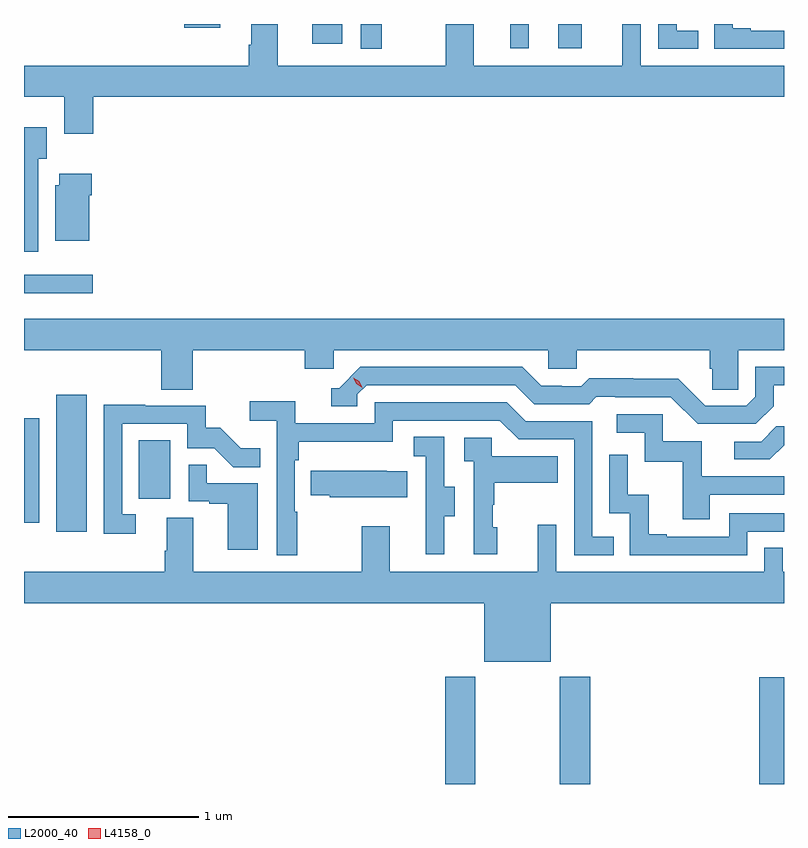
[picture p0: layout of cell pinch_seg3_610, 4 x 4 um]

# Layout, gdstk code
import gdstk
lib = gdstk.Library(unit=1e-6, precision=1e-09)
def R(c, l, rs):  # rectangles x0, y0, x1, y1
    for r in rs: c.add(gdstk.rectangle(r[:2], r[2:], *l))
def P(c, l, *ps):  # polygons
    for p in ps: c.add(gdstk.Polygon(p, *l))
L2000_40 = (2000, 40)
L4158_0 = (4158, 0)

pinch_seg3_610 = lib.new_cell('pinch_seg3_610')
R(pinch_seg3_610, L2000_40, [(1073.135,666.664,1073.295,667.228), (1073.74,666.664,1073.9,667.228), (1074.788,666.664,1074.919,667.227), (1071.089,667.992,1071.25,668.713), (1070.919,668.038,1071,668.59), (1071.524,668.166,1071.688,668.473), (1070.919,669.248,1071.28,669.345), (1072.692,670.533,1072.801,670.664), (1073.477,670.536,1073.575,670.664), (1073.73,670.536,1073.854,670.664), (1072.436,670.56,1072.594,670.664), (1071.763,670.644,1071.952,670.664)])
P(pinch_seg3_610, L2000_40, [(1071.284,670.28),(1074.919,670.28),(1074.919,670.444),(1074.165,670.444),(1074.165,670.664),(1074.068,670.664),(1074.068,670.444),(1073.287,670.444),(1073.287,670.664),(1073.14,670.664),(1073.14,670.444),(1072.255,670.444),(1072.255,670.664),(1072.115,670.664),(1072.115,670.556),(1072.103,670.556),(1072.103,670.444),(1070.919,670.444),(1070.919,670.28),(1071.131,670.28),(1071.131,670.086),(1071.284,670.086)],
  [(1074.919,670.629),(1074.745,670.629),(1074.745,670.642),(1074.65,670.642),(1074.65,670.664),(1074.552,670.664),(1074.552,670.533),(1074.919,670.533)],
  [(1074.467,670.629),(1074.354,670.629),(1074.354,670.664),(1074.258,670.664),(1074.258,670.533),(1074.467,670.533)],
  [(1070.995,669.954),(1071.04,669.954),(1071.04,670.12),(1070.919,670.12),(1070.919,669.465),(1070.995,669.465)],
  [(1071.262,669.764),(1071.275,669.764),(1071.275,669.877),(1071.104,669.877),(1071.104,669.816),(1071.083,669.816),(1071.083,669.524),(1071.262,669.524)],
  [(1070.919,668.948),(1071.641,668.948),(1071.641,668.74),(1071.806,668.74),(1071.806,668.948),(1072.397,668.948),(1072.397,668.85),(1072.548,668.85),(1072.548,668.948),(1073.679,668.948),(1073.679,668.85),(1073.829,668.85),(1073.829,668.948),(1074.527,668.948),(1074.527,668.85),(1074.541,668.85),(1074.541,668.74),(1074.678,668.74),(1074.678,668.948),(1074.919,668.948),(1074.919,669.112),(1070.919,669.112)],
  [(1074.865,668.653),(1074.865,668.763),(1074.919,668.763),(1074.919,668.859),(1074.768,668.859),(1074.768,668.703),(1074.72,668.655),(1074.504,668.655),(1074.362,668.797),(1074.126,668.797),(1074.126,668.8),(1073.893,668.8),(1073.851,668.757),(1073.748,668.757),(1073.748,668.76),(1073.641,668.76),(1073.542,668.859),(1072.689,668.859),(1072.578,668.748),(1072.535,668.748),(1072.535,668.652),(1072.674,668.652),(1072.674,668.715),(1072.722,668.763),(1073.505,668.763),(1073.604,668.664),(1073.893,668.664),(1073.932,668.703),(1074.031,668.703),(1074.031,668.7),(1074.324,668.7),(1074.465,668.559),(1074.771,668.559)],
  [(1072.357,668.096),(1072.344,668.096),(1072.344,668.369),(1072.364,668.369),(1072.364,668.465),(1072.86,668.465),(1072.86,668.577),(1073.424,668.577),(1073.523,668.478),(1073.814,668.478),(1073.814,667.869),(1074.023,667.869),(1074.023,667.965),(1073.91,667.965),(1073.91,668.574),(1073.56,668.574),(1073.461,668.673),(1072.764,668.673),(1072.764,668.562),(1072.346,668.562),(1072.346,668.678),(1072.107,668.678),(1072.107,668.576),(1072.248,668.576),(1072.248,667.869),(1072.357,667.869)],
  [(1071.508,668.085),(1071.435,668.085),(1071.435,668.559),(1071.777,668.559),(1071.777,668.43),(1071.921,668.43),(1072.019,668.332),(1072.163,668.332),(1072.163,668.431),(1072.059,668.431),(1071.952,668.538),(1071.876,668.538),(1071.876,668.655),(1071.557,668.655),(1071.557,668.66),(1071.339,668.66),(1071.339,667.98),(1071.508,667.98)],
  [(1074.529,668.187),(1074.919,668.187),(1074.919,668.283),(1074.487,668.283),(1074.487,668.469),(1074.282,668.469),(1074.282,668.61),(1074.039,668.61),(1074.039,668.514),(1074.186,668.514),(1074.186,668.361),(1074.385,668.361),(1074.385,668.058),(1074.529,668.058)],
  [(1074.919,668.448),(1074.919,668.546),(1074.878,668.546),(1074.798,668.466),(1074.657,668.466),(1074.657,668.373),(1074.844,668.373)],
  [(1073.131,668.074),(1073.185,668.074),(1073.185,668.229),(1073.13,668.229),(1073.13,668.492),(1072.971,668.492),(1072.971,668.389),(1073.034,668.389),(1073.034,668.085),(1073.033,668.085),(1073.033,667.872),(1073.131,667.872)],
  [(1073.41,668.016),(1073.385,668.016),(1073.385,668.135),(1073.395,668.135),(1073.395,668.249),(1073.729,668.249),(1073.729,668.389),(1073.382,668.389),(1073.382,668.487),(1073.235,668.487),(1073.235,668.363),(1073.286,668.363),(1073.286,667.872),(1073.41,667.872)],
  [(1074.726,667.992),(1074.919,667.992),(1074.919,668.088),(1074.63,668.088),(1074.63,667.965),(1074.301,667.965),(1074.301,667.978),(1074.206,667.978),(1074.206,668.186),(1074.096,668.186),(1074.096,668.398),(1074,668.398),(1074,668.088),(1074.108,668.088),(1074.108,667.869),(1074.726,667.869)],
  [(1072.15,668.247),(1071.881,668.247),(1071.881,668.345),(1071.786,668.345),(1071.786,668.151),(1071.893,668.151),(1071.893,668.139),(1071.992,668.139),(1071.992,667.896),(1072.15,667.896)],
  [(1072.937,668.311),(1072.829,668.311),(1072.829,668.314),(1072.429,668.314),(1072.429,668.185),(1072.527,668.185),(1072.527,668.174),(1072.937,668.174)],
  [(1073.692,667.616),(1074.919,667.616),(1074.919,667.78),(1074.912,667.78),(1074.912,667.907),(1074.816,667.907),(1074.816,667.78),(1073.721,667.78),(1073.721,668.029),(1073.624,668.029),(1073.624,667.78),(1072.843,667.78),(1072.843,668.02),(1072.696,668.02),(1072.696,667.78),(1071.811,667.78),(1071.811,668.066),(1071.671,668.066),(1071.671,667.892),(1071.659,667.892),(1071.659,667.78),(1070.919,667.78),(1070.919,667.616),(1073.342,667.616),(1073.342,667.307),(1073.692,667.307)])
P(pinch_seg3_610, L4158_0, [(1072.699,668.75),(1072.668,668.77),(1072.652,668.802),(1072.652,668.802),(1072.653,668.802),(1072.683,668.783),(1072.699,668.75),(1072.699,668.75)])

lib.write_gds('pinch_seg3_610.gds')
